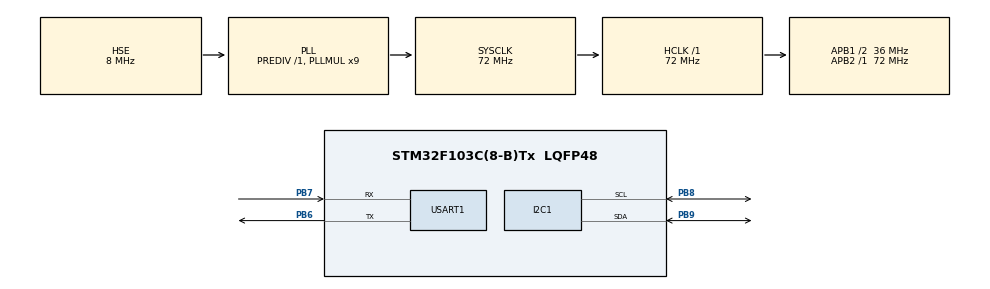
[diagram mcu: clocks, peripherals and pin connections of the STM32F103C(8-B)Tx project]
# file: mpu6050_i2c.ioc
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Mcu.Family=STM32F1
Mcu.Name=STM32F103C(8-B)Tx
Mcu.Package=LQFP48
NVIC.PriorityGroup=NVIC_PRIORITYGROUP_4
PA13.Mode=Serial_Wire
PA13.Signal=SYS_JTMS-SWDIO
PA14.Mode=Serial_Wire
PA14.Signal=SYS_JTCK-SWCLK
PB6.Mode=Asynchronous
PB6.Signal=USART1_TX
PB7.Mode=Asynchronous
PB7.Signal=USART1_RX
PB8.Mode=I2C
PB8.Signal=I2C1_SCL
PB9.Mode=I2C
PB9.Signal=I2C1_SDA
PD0-OSC_IN.Mode=HSE-External-Oscillator
PD0-OSC_IN.Signal=RCC_OSC_IN
PD1-OSC_OUT.Mode=HSE-External-Oscillator
PD1-OSC_OUT.Signal=RCC_OSC_OUT
ProjectManager.HeapSize=0x200
ProjectManager.StackSize=0x400
ProjectManager.TargetToolchain=STM32CubeIDE
RCC.AHBFreq_Value=72000000
RCC.APB1CLKDivider=RCC_HCLK_DIV2
RCC.APB1Freq_Value=36000000
RCC.APB1TimFreq_Value=72000000
RCC.APB2Freq_Value=72000000
RCC.APB2TimFreq_Value=72000000
RCC.HCLKFreq_Value=72000000
RCC.PLLMUL=RCC_PLL_MUL9
RCC.PLLSourceVirtual=RCC_PLLSOURCE_HSE
RCC.SYSCLKFreq_VALUE=72000000
RCC.SYSCLKSource=RCC_SYSCLKSOURCE_PLLCLK
RCC.USBFreq_Value=72000000
USART1.VirtualMode=VM_ASYNC
board=custom

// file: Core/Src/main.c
/* USER CODE BEGIN Header */
/**
  ******************************************************************************
  * @file           : main.c
  * @brief          : Main program body
  ******************************************************************************
  * @attention
  *
  * <h2><center>&copy; Copyright (c) 2020 STMicroelectronics.
  * All rights reserved.</center></h2>
  *
  * This software component is licensed by ST under BSD 3-Clause license,
  * the "License"; You may not use this file except in compliance with the
  * License. You may obtain a copy of the License at:
  *                        opensource.org/licenses/BSD-3-Clause
  *
  ******************************************************************************
  */
/* USER CODE END Header */

#include "main.h"

/* USER CODE BEGIN Includes */
#include <string.h>
#include <stdio.h>
/* USER CODE END Includes */

I2C_HandleTypeDef hi2c1;

UART_HandleTypeDef huart1;

/* USER CODE BEGI_tN PV */
static const uint8_t MPU6050_ADDR 		= 0xD0; //110100 << 2
static const uint8_t WHO_AM_I_REG 		= 0x75;
static const uint8_t PWR_MGMT_1_REG  	= 0x6B;
static const uint8_t SMPLRT_DIV_REG  	= 0x19;
static const uint8_t GYRO_CONFIG_REG 	= 0x1B;
static const uint8_t GYRO_XOUT_H_REG	= 0x43;
static const uint8_t ACCEL_CONFIG_REG	= 0x1C;
static const uint8_t ACCEL_XOUT_H_REG	= 0x3B;

int16_t Accel_X_RAW = 0;
int16_t Accel_Y_RAW = 0;
int16_t Accel_Z_RAW = 0;

int16_t Gyro_X_RAW = 0;
int16_t Gyro_Y_RAW = 0;
int16_t Gyro_Z_RAW = 0;

float Ax, Ay, Az, Gx, Gy, Gz;
/* USER CODE END PV */

void SystemClock_Config(void);
static void MX_GPIO_Init(void);
static void MX_I2C1_Init(void);
static void MX_USART1_UART_Init(void);
/* USER CODE BEGIN PFP */
void MPU_Init(void);
void MPU6050_Read_Accel(void);
void MPU6050_Read_Gyro(void);
/* USER CODE END PFP */

int main(void)
{
  /* USER CODE BEGIN 1 */
	uint8_t buf[20];
  /* USER CODE END 1 */

  /* MCU Configuration--------------------------------------------------------*/

  /* Reset of all peripherals, Initializes the Flash interface and the Systick. */
  HAL_Init();

  /* Configure the system clock */
  SystemClock_Config();

  /* Initialize all configured peripherals */
  MX_GPIO_Init();
  MX_I2C1_Init();
  MX_USART1_UART_Init();
  /* USER CODE BEGIN 2 */
  MPU_Init();
  /* USER CODE END 2 */

  /* Infinite loop */
  /* USER CODE BEGIN WHILE */
  while (1)
  {
	  MPU6050_Read_Accel();
	  MPU6050_Read_Gyro();

	  Ax *= 100;
	  sprintf((char*)buf, "Ax= %u.%02u g\r\n", (unsigned int)Ax/100,(unsigned int)Ax%100);
	  HAL_UART_Transmit(&huart1, buf, strlen((char*)buf), HAL_MAX_DELAY);

	  Ay *= 100;
	  sprintf((char*)buf, "Ay= %u.%02u g\r\n", (unsigned int)Ay/100,(unsigned int)Ay%100);
	  HAL_UART_Transmit(&huart1, buf, strlen((char*)buf), HAL_MAX_DELAY);

	  Az *= 100;
	  sprintf((char*)buf, "Az= %u.%02u g\r\n", (unsigned int)Az/100,(unsigned int)Az%100);
	  HAL_UART_Transmit(&huart1, buf, strlen((char*)buf), HAL_MAX_DELAY);

	  Gx *= 100;
	  sprintf((char*)buf, "Gx= %u.%02u deg/s\r\n", (unsigned int)Gx/100,(unsigned int)Gx%100);
	  HAL_UART_Transmit(&huart1, buf, strlen((char*)buf), HAL_MAX_DELAY);

	  Gy *= 100;
	  sprintf((char*)buf, "Gy= %u.%02u deg/s\r\n", (unsigned int)Gy/100,(unsigned int)Gy%100);
	  HAL_UART_Transmit(&huart1, buf, strlen((char*)buf), HAL_MAX_DELAY);

	  Gz *= 100;
	  sprintf((char*)buf, "Gz= %u.%02u deg/s\r\n", (unsigned int)Gz/100,(unsigned int)Gz%100);
	  HAL_UART_Transmit(&huart1, buf, strlen((char*)buf), HAL_MAX_DELAY);

	  HAL_Delay(300);
    /* USER CODE END WHILE */

  }
}

void SystemClock_Config(void)
{
  RCC_OscInitTypeDef RCC_OscInitStruct = {0};
  RCC_ClkInitTypeDef RCC_ClkInitStruct = {0};

  /** Initializes the CPU, AHB and APB busses clocks
  */
  RCC_OscInitStruct.OscillatorType = RCC_OSCILLATORTYPE_HSE;
  RCC_OscInitStruct.HSEState = RCC_HSE_ON;
  RCC_OscInitStruct.HSEPredivValue = RCC_HSE_PREDIV_DIV1;
  RCC_OscInitStruct.HSIState = RCC_HSI_ON;
  RCC_OscInitStruct.PLL.PLLState = RCC_PLL_ON;
  RCC_OscInitStruct.PLL.PLLSource = RCC_PLLSOURCE_HSE;
  RCC_OscInitStruct.PLL.PLLMUL = RCC_PLL_MUL9;
  if (HAL_RCC_OscConfig(&RCC_OscInitStruct) != HAL_OK)
  {
    Error_Handler();
  }
  /** Initializes the CPU, AHB and APB busses clocks
  */
  RCC_ClkInitStruct.ClockType = RCC_CLOCKTYPE_HCLK|RCC_CLOCKTYPE_SYSCLK
                              |RCC_CLOCKTYPE_PCLK1|RCC_CLOCKTYPE_PCLK2;
  RCC_ClkInitStruct.SYSCLKSource = RCC_SYSCLKSOURCE_PLLCLK;
  RCC_ClkInitStruct.AHBCLKDivider = RCC_SYSCLK_DIV1;
  RCC_ClkInitStruct.APB1CLKDivider = RCC_HCLK_DIV2;
  RCC_ClkInitStruct.APB2CLKDivider = RCC_HCLK_DIV1;

  if (HAL_RCC_ClockConfig(&RCC_ClkInitStruct, FLASH_LATENCY_2) != HAL_OK)
  {
    Error_Handler();
  }
}

static void MX_I2C1_Init(void)
{

  hi2c1.Instance = I2C1;
  hi2c1.Init.ClockSpeed = 100000;
  hi2c1.Init.DutyCycle = I2C_DUTYCYCLE_2;
  hi2c1.Init.OwnAddress1 = 0;
  hi2c1.Init.AddressingMode = I2C_ADDRESSINGMODE_7BIT;
  hi2c1.Init.DualAddressMode = I2C_DUALADDRESS_DISABLE;
  hi2c1.Init.OwnAddress2 = 0;
  hi2c1.Init.GeneralCallMode = I2C_GENERALCALL_DISABLE;
  hi2c1.Init.NoStretchMode = I2C_NOSTRETCH_DISABLE;
  if (HAL_I2C_Init(&hi2c1) != HAL_OK)
  {
    Error_Handler();
  }

}

static void MX_USART1_UART_Init(void)
{

  huart1.Instance = USART1;
  huart1.Init.BaudRate = 115200;
  huart1.Init.WordLength = UART_WORDLENGTH_8B;
  huart1.Init.StopBits = UART_STOPBITS_1;
  huart1.Init.Parity = UART_PARITY_NONE;
  huart1.Init.Mode = UART_MODE_TX_RX;
  huart1.Init.HwFlowCtl = UART_HWCONTROL_NONE;
  huart1.Init.OverSampling = UART_OVERSAMPLING_16;
  if (HAL_UART_Init(&huart1) != HAL_OK)
  {
    Error_Handler();
  }

}

static void MX_GPIO_Init(void)
{

  /* GPIO Ports Clock Enable */
  __HAL_RCC_GPIOD_CLK_ENABLE();
  __HAL_RCC_GPIOA_CLK_ENABLE();
  __HAL_RCC_GPIOB_CLK_ENABLE();

}

/* USER CODE BEGIN 4 */

void MPU_Init(void)
{
	HAL_StatusTypeDef retStatus;
	uint8_t bufSerial[30];
	uint8_t bufData = 0;
	/* check if the sensor is responding */
	retStatus = HAL_I2C_Mem_Read(&hi2c1, MPU6050_ADDR, WHO_AM_I_REG, 1, &bufData, 1, HAL_MAX_DELAY);
	if(bufData == 104) //0x68 - default value
	{
		strcpy((char*)bufSerial,"WHO_AM_I_REG OK\r\n");
		HAL_UART_Transmit(&huart1, bufSerial, strlen((char*)bufSerial), HAL_MAX_DELAY);

		/* POWER MANAGEMENT: all 0's to wake the sensor up */
		bufData = 0;
		retStatus = HAL_I2C_Mem_Write(&hi2c1, MPU6050_ADDR, PWR_MGMT_1_REG, 1,&bufData, 1, HAL_MAX_DELAY);
		if(retStatus == HAL_OK)
		{
			strcpy((char*)bufSerial,"PWR_MGMT_1_REG OK\r\n");
			HAL_UART_Transmit(&huart1, bufSerial, strlen((char*)bufSerial), HAL_MAX_DELAY);
		} else {
			strcpy((char*)bufSerial,"PWR_MGMT_1_REG ERROR\r\n");
			HAL_UART_Transmit(&huart1, bufSerial, strlen((char*)bufSerial), HAL_MAX_DELAY);
		}

		/* SAMPLE RATE = Gyroscope Output Rate / (1 + SMPLRT_DIV) // Gyroscope Output Rate = 8kHz */
		bufData = 0x07;
		retStatus = HAL_I2C_Mem_Write(&hi2c1, MPU6050_ADDR, SMPLRT_DIV_REG, 1, &bufData, 1, HAL_MAX_DELAY);
		if(retStatus == HAL_OK)
		{
			strcpy((char*)bufSerial,"SMPLRT_DIV_REG OK\r\n");
			HAL_UART_Transmit(&huart1, bufSerial, strlen((char*)bufSerial), HAL_MAX_DELAY);
		} else {
			strcpy((char*)bufSerial,"SMPLRT_DIV_REG ERROR\r\n");
			HAL_UART_Transmit(&huart1, bufSerial, strlen((char*)bufSerial), HAL_MAX_DELAY);
		}

		/* GYROSCOPE CONFIGURATION: full scale range (250 to 2000 degree/sec) */
		bufData = 0x00;
		retStatus = HAL_I2C_Mem_Write(&hi2c1, MPU6050_ADDR, GYRO_CONFIG_REG, 1, &bufData, 1, HAL_MAX_DELAY);
		if(retStatus == HAL_OK)
		{
			strcpy((char*)bufSerial,"GYRO_CONFIG_REG OK\r\n");
			HAL_UART_Transmit(&huart1, bufSerial, strlen((char*)bufSerial), HAL_MAX_DELAY);
		} else {
			strcpy((char*)bufSerial,"GYRO_CONFIG_REG ERROR\r\n");
			HAL_UART_Transmit(&huart1, bufSerial, strlen((char*)bufSerial), HAL_MAX_DELAY);
		}

		/* ACCELEROMETER CONFIGURATION: full scale range (2 to 16 g) */
		bufData = 0x00;
		retStatus = HAL_I2C_Mem_Write(&hi2c1, MPU6050_ADDR, ACCEL_CONFIG_REG, 1, &bufData, 1, HAL_MAX_DELAY);
		if(retStatus == HAL_OK)
		{
			strcpy((char*)bufSerial,"ACCEL_CONFIG_REG OK\r\n");
			HAL_UART_Transmit(&huart1, bufSerial, strlen((char*)bufSerial), HAL_MAX_DELAY);
		} else {
			strcpy((char*)bufSerial,"ACCEL_CONFIG_REG ERROR\r\n");
			HAL_UART_Transmit(&huart1, bufSerial, strlen((char*)bufSerial), HAL_MAX_DELAY);
		}
	} else	{
		strcpy((char*)bufSerial,"WHO_AM_I_REG ERROR\r\n");
		HAL_UART_Transmit(&huart1, bufSerial, strlen((char*)bufSerial), HAL_MAX_DELAY);
	}
}

void MPU6050_Read_Accel(void)
{
	HAL_StatusTypeDef retStatus;
	uint8_t bufSerial[30];
	uint8_t bufData[6];
	retStatus = HAL_I2C_Mem_Read(&hi2c1, MPU6050_ADDR, ACCEL_XOUT_H_REG, 1, bufData, 6, HAL_MAX_DELAY);
	if(retStatus == HAL_OK)
	{
		Accel_X_RAW = (int16_t)(bufData[0] << 8 | bufData [1]);
		Accel_Y_RAW = (int16_t)(bufData[2] << 8 | bufData [3]);
		Accel_Z_RAW = (int16_t)(bufData[4] << 8 | bufData [5]);
		Ax = Accel_X_RAW/16384.0;
		Ay = Accel_Y_RAW/16384.0;
		Az = Accel_Z_RAW/16384.0;
	} else {
		strcpy((char*)bufSerial,"ACCEL_XOUT_H_REG ERROR\r\n");
		HAL_UART_Transmit(&huart1, bufSerial, strlen((char*)bufSerial), HAL_MAX_DELAY);
	}
}

void MPU6050_Read_Gyro(void)
{
	HAL_StatusTypeDef retStatus;
	uint8_t bufSerial[30];
	uint8_t bufData[6];
	retStatus = HAL_I2C_Mem_Read(&hi2c1, MPU6050_ADDR, GYRO_XOUT_H_REG, 1, bufData, 6, HAL_MAX_DELAY);
	if(retStatus == HAL_OK)
	{
		Gyro_X_RAW = (int16_t)(bufData[0] << 8 | bufData [1]);
		Gyro_Y_RAW = (int16_t)(bufData[2] << 8 | bufData [3]);
		Gyro_Z_RAW = (int16_t)(bufData[4] << 8 | bufData [5]);
		Gx = Gyro_X_RAW/131.0;
		Gy = Gyro_Y_RAW/131.0;
		Gz = Gyro_Z_RAW/131.0;
	} else {
		strcpy((char*)bufSerial,"GYRO_XOUT_H_REG ERROR\r\n");
		HAL_UART_Transmit(&huart1, bufSerial, strlen((char*)bufSerial), HAL_MAX_DELAY);
	}
}

/* USER CODE END 4 */

void Error_Handler(void)
{
}

/************************ (C) COPYRIGHT STMicroelectronics *****END OF FILE****/
